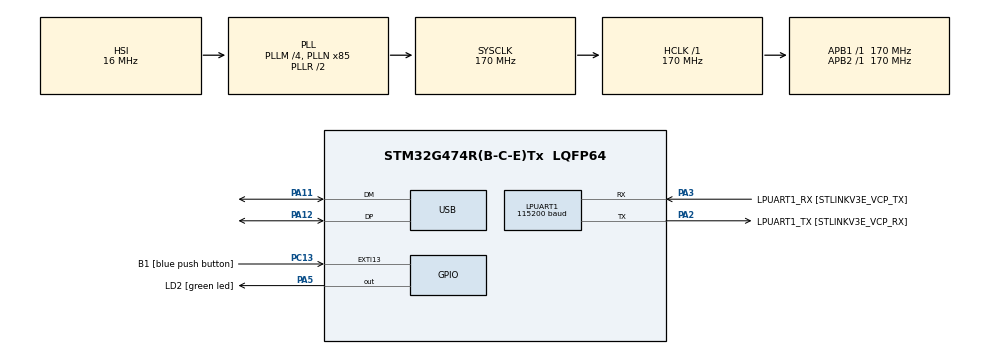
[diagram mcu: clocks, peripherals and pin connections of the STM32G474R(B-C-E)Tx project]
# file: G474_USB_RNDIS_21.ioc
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ADC1.Channel-0\#ChannelRegularConversion=ADC_CHANNEL_TEMPSENSOR_ADC1
ADC1.NbrOfConversionFlag=1
ADC1.OffsetNumber-0\#ChannelRegularConversion=ADC_OFFSET_NONE
ADC1.Rank-0\#ChannelRegularConversion=1
ADC1.SamplingTime-0\#ChannelRegularConversion=ADC_SAMPLETIME_2CYCLES_5
ADC1.master=1
Dma.LPUART1_RX.0.Direction=DMA_PERIPH_TO_MEMORY
Dma.LPUART1_RX.0.EventEnable=DISABLE
Dma.LPUART1_RX.0.Instance=DMA1_Channel1
Dma.LPUART1_RX.0.MemDataAlignment=DMA_MDATAALIGN_BYTE
Dma.LPUART1_RX.0.MemInc=DMA_MINC_ENABLE
Dma.LPUART1_RX.0.Mode=DMA_CIRCULAR
Dma.LPUART1_RX.0.PeriphDataAlignment=DMA_PDATAALIGN_BYTE
Dma.LPUART1_RX.0.PeriphInc=DMA_PINC_DISABLE
Dma.LPUART1_RX.0.Polarity=HAL_DMAMUX_REQ_GEN_RISING
Dma.LPUART1_RX.0.Priority=DMA_PRIORITY_LOW
Dma.LPUART1_RX.0.RequestNumber=1
Dma.LPUART1_RX.0.SignalID=NONE
Dma.LPUART1_RX.0.SyncEnable=DISABLE
Dma.LPUART1_RX.0.SyncPolarity=HAL_DMAMUX_SYNC_NO_EVENT
Dma.LPUART1_RX.0.SyncRequestNumber=1
Dma.LPUART1_RX.0.SyncSignalID=NONE
Dma.LPUART1_TX.1.Direction=DMA_MEMORY_TO_PERIPH
Dma.LPUART1_TX.1.EventEnable=DISABLE
Dma.LPUART1_TX.1.Instance=DMA1_Channel2
Dma.LPUART1_TX.1.MemDataAlignment=DMA_MDATAALIGN_BYTE
Dma.LPUART1_TX.1.MemInc=DMA_MINC_ENABLE
Dma.LPUART1_TX.1.Mode=DMA_NORMAL
Dma.LPUART1_TX.1.PeriphDataAlignment=DMA_PDATAALIGN_BYTE
Dma.LPUART1_TX.1.PeriphInc=DMA_PINC_DISABLE
Dma.LPUART1_TX.1.Polarity=HAL_DMAMUX_REQ_GEN_RISING
Dma.LPUART1_TX.1.Priority=DMA_PRIORITY_LOW
Dma.LPUART1_TX.1.RequestNumber=1
Dma.LPUART1_TX.1.SignalID=NONE
Dma.LPUART1_TX.1.SyncEnable=DISABLE
Dma.LPUART1_TX.1.SyncPolarity=HAL_DMAMUX_SYNC_NO_EVENT
Dma.LPUART1_TX.1.SyncRequestNumber=1
Dma.LPUART1_TX.1.SyncSignalID=NONE
Dma.Request0=LPUART1_RX
Dma.Request1=LPUART1_TX
FREERTOS.Tasks01=defaultTask,24,128,StartDefaultTask,Default,NULL,Dynamic,NULL,NULL
FREERTOS.configMINIMAL_STACK_SIZE=128
FREERTOS.configTOTAL_HEAP_SIZE=80000
FREERTOS.configUSE_IDLE_HOOK=1
FREERTOS.configUSE_NEWLIB_REENTRANT=1
LPUART1.BaudRate=115200
LPUART1.WordLength=UART_WORDLENGTH_8B
Mcu.Family=STM32G4
Mcu.Name=STM32G474R(B-C-E)Tx
Mcu.Package=LQFP64
NVIC.DMA1_Channel1_IRQn=true\:5\:0\:false\:false\:true\:true\:false\:true\:true
NVIC.DMA1_Channel2_IRQn=true\:5\:0\:false\:false\:true\:true\:false\:true\:true
NVIC.EXTI15_10_IRQn=true\:5\:0\:false\:false\:true\:true\:true\:true\:true
NVIC.LPUART1_IRQn=true\:5\:0\:false\:false\:true\:true\:true\:true\:true
NVIC.PriorityGroup=NVIC_PRIORITYGROUP_4
NVIC.TIM7_DAC_IRQn=true\:15\:0\:false\:false\:true\:false\:true\:true\:true
NVIC.TimeBase=TIM7_DAC_IRQn
NVIC.TimeBaseIP=TIM7
NVIC.USB_LP_IRQn=true\:5\:0\:false\:false\:true\:true\:true\:true\:true
PA11.Mode=Device
PA11.Signal=USB_DM
PA12.Mode=Device
PA12.Signal=USB_DP
PA13.GPIO_Label=T_SWDIO
PA13.Mode=Serial_Wire
PA13.Signal=SYS_JTMS-SWDIO
PA14.GPIO_Label=T_SWCLK
PA14.Mode=Serial_Wire
PA14.Signal=SYS_JTCK-SWCLK
PA2.GPIO_Label=LPUART1_TX [STLINKV3E_VCP_RX]
PA2.Mode=Asynchronous
PA2.Signal=LPUART1_TX
PA3.GPIO_Label=LPUART1_RX [STLINKV3E_VCP_TX]
PA3.Mode=Asynchronous
PA3.Signal=LPUART1_RX
PA5.GPIO_Label=LD2 [green led]
PA5.Signal=GPIO_Output
PB3.GPIO_Label=T_SWO
PB3.Signal=SYS_JTDO-SWO
PC13.GPIO_Label=B1 [blue push button]
PC13.Signal=GPXTI13
PC14-OSC32_IN.Mode=LSE-External-Oscillator
PC14-OSC32_IN.Signal=RCC_OSC32_IN
PC15-OSC32_OUT.Mode=LSE-External-Oscillator
PC15-OSC32_OUT.Signal=RCC_OSC32_OUT
PF0-OSC_IN.Mode=HSE-External-Oscillator
PF0-OSC_IN.Signal=RCC_OSC_IN
PF1-OSC_OUT.Mode=HSE-External-Oscillator
PF1-OSC_OUT.Signal=RCC_OSC_OUT
ProjectManager.HeapSize=0x200
ProjectManager.StackSize=0x400
ProjectManager.TargetToolchain=STM32CubeIDE
RCC.ADC12Freq_Value=170000000
RCC.ADC345Freq_Value=170000000
RCC.AHBFreq_Value=170000000
RCC.APB1Freq_Value=170000000
RCC.APB1TimFreq_Value=170000000
RCC.APB2Freq_Value=170000000
RCC.APB2TimFreq_Value=170000000
RCC.CK48CLockSelection=RCC_USBCLKSOURCE_HSI48
RCC.CortexFreq_Value=170000000
RCC.EXTERNAL_CLOCK_VALUE=12288000
RCC.HCLKFreq_Value=170000000
RCC.HSE_VALUE=24000000
RCC.HSI48_VALUE=48000000
RCC.HSI_VALUE=16000000
RCC.PLLM=RCC_PLLM_DIV4
RCC.PLLN=85
RCC.RTCClockSelection=RCC_RTCCLKSOURCE_LSE
RCC.SYSCLKFreq_VALUE=170000000
RCC.SYSCLKSource=RCC_SYSCLKSOURCE_PLLCLK
RCC.USBFreq_Value=48000000
RCC.VCOOutputFreq_Value=340000000
VP_ADC1_TempSens_Input.Mode=IN-TempSens
VP_FREERTOS_VS_CMSIS_V2.Mode=CMSIS_V2
VP_SYS_VS_DBSignals.Mode=DisableDeadBatterySignals
VP_SYS_VS_tim7.Mode=TIM7
board=NUCLEO-G474RE

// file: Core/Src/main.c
/* USER CODE BEGIN Header */
/**
  ******************************************************************************
  * @file           : main.c
  * @brief          : Main program body
  ******************************************************************************
  * @attention
  *
  * Copyright (c) 2024 STMicroelectronics.
  * All rights reserved.
  *
  * This software is licensed under terms that can be found in the LICENSE file
  * in the root directory of this software component.
  * If no LICENSE file comes with this software, it is provided AS-IS.
  *
  ******************************************************************************
  */
/* USER CODE END Header */
#include "main.h"
#include "cmsis_os.h"

/* USER CODE BEGIN Includes */
//#include "usb_device.h"
#include "queuex.h"
#include "tcpip.h"
#include "led.h"
#include "monitor.h"
#include "dhcpserver.h"
#include "usb_device.h"
#include "serial.h"
/* USER CODE END Includes */

/* USER CODE BEGIN PD */
extern queue_handle_t tcpQueue;
extern queue_handle_t usbQueue;
/* USER CODE END PD */

ADC_HandleTypeDef hadc1;

UART_HandleTypeDef hlpuart1;
DMA_HandleTypeDef hdma_lpuart1_rx;
DMA_HandleTypeDef hdma_lpuart1_tx;

PCD_HandleTypeDef hpcd_USB_FS;

/* Definitions for defaultTask */
osThreadId_t defaultTaskHandle;
const osThreadAttr_t defaultTask_attributes = {
  .name = "defaultTask",
  .priority = (osPriority_t) osPriorityNormal,
  .stack_size = 128 * 4
};

void SystemClock_Config(void);
static void MX_GPIO_Init(void);
static void MX_DMA_Init(void);
static void MX_LPUART1_UART_Init(void);
static void MX_ADC1_Init(void);
static void MX_USB_PCD_Init(void);
void StartDefaultTask(void *argument);

/* USER CODE BEGIN 0 */
/* Definitions for myEvent01 */
void User_vApplicationIdleHook( void )		//uer it is running now
{
   queue_manager( &tcpQueue );		//send to TCP task
   queue_manager( &usbQueue );		//send data to USB
}
/* USER CODE END 0 */

int main(void)
{

  /* MCU Configuration--------------------------------------------------------*/

  /* Reset of all peripherals, Initializes the Flash interface and the Systick. */
  HAL_Init();

  /* Configure the system clock */
  SystemClock_Config();

  /* Initialize all configured peripherals */
  MX_GPIO_Init();
  MX_DMA_Init();
  MX_LPUART1_UART_Init();
  MX_ADC1_Init();
  MX_USB_PCD_Init();
  /* USER CODE BEGIN 2 */
  //MX_USB_DEVICE_Init();
  //
  //issue the dns http all did not init from tcp freertos
  monitor_init();			//ADC monitor		..adc reading data only.. it got one theard runing for ADC keep reading adc
  //led_init();				//LED thread task running only
  tcpip_init();				//TCPIP init ... init TCP and others	... got one thead that run mactask
  usb_init();				//USB init ... it is MX_USB_Device_Init... it worked but got bug
  //init_btn();
  uart_init_1();

 // while(1){
//	  HAL_Delay(10);
//	  usart_send_string_1("AAAA");

//	  HAL_UART_Transmit(&hlpuart1, "AAAA", 4, 0xFFFF);
  //}

  // Set the queue on the tcpip stack io
  tcpQueue.messageDirection  = TCP_TO_USB;			//queuex.h msg from MCU to PCB USB
  tcpQueue.output            = usb_output;			//function call from usb_device.c to send out data to USB
  queue_init(&tcpQueue);			//exchange with tcpip.c usb_device.c usb_rndis.c

  // Set the queue on the usb io
  usbQueue.messageDirection   = USB_TO_TCP;			//queuex.h from PC USB to MCU
  usbQueue.output             = tcpip_output;		//function call from tcpip.c to
  queue_init(&usbQueue);			//exchange tcpip.c usb_device.c usb_rndis.c
  /* USER CODE END 2 */

  /* Init scheduler */
  osKernelInitialize();

  /* Create the thread(s) */
  /* creation of defaultTask */
  defaultTaskHandle = osThreadNew(StartDefaultTask, NULL, &defaultTask_attributes);

  /* Start scheduler */
  osKernelStart();

  /* We should never get here as control is now taken by the scheduler */
  /* Infinite loop */
  while (1)
  {

  }
}

void SystemClock_Config(void)
{
  RCC_OscInitTypeDef RCC_OscInitStruct = {0};
  RCC_ClkInitTypeDef RCC_ClkInitStruct = {0};

  /** Configure the main internal regulator output voltage
  */
  HAL_PWREx_ControlVoltageScaling(PWR_REGULATOR_VOLTAGE_SCALE1_BOOST);

  /** Initializes the RCC Oscillators according to the specified parameters
  * in the RCC_OscInitTypeDef structure.
  */
  RCC_OscInitStruct.OscillatorType = RCC_OSCILLATORTYPE_HSI|RCC_OSCILLATORTYPE_HSI48;
  RCC_OscInitStruct.HSIState = RCC_HSI_ON;
  RCC_OscInitStruct.HSICalibrationValue = RCC_HSICALIBRATION_DEFAULT;
  RCC_OscInitStruct.HSI48State = RCC_HSI48_ON;
  RCC_OscInitStruct.PLL.PLLState = RCC_PLL_ON;
  RCC_OscInitStruct.PLL.PLLSource = RCC_PLLSOURCE_HSI;
  RCC_OscInitStruct.PLL.PLLM = RCC_PLLM_DIV4;
  RCC_OscInitStruct.PLL.PLLN = 85;
  RCC_OscInitStruct.PLL.PLLP = RCC_PLLP_DIV2;
  RCC_OscInitStruct.PLL.PLLQ = RCC_PLLQ_DIV2;
  RCC_OscInitStruct.PLL.PLLR = RCC_PLLR_DIV2;
  if (HAL_RCC_OscConfig(&RCC_OscInitStruct) != HAL_OK)
  {
    Error_Handler();
  }

  /** Initializes the CPU, AHB and APB buses clocks
  */
  RCC_ClkInitStruct.ClockType = RCC_CLOCKTYPE_HCLK|RCC_CLOCKTYPE_SYSCLK
                              |RCC_CLOCKTYPE_PCLK1|RCC_CLOCKTYPE_PCLK2;
  RCC_ClkInitStruct.SYSCLKSource = RCC_SYSCLKSOURCE_PLLCLK;
  RCC_ClkInitStruct.AHBCLKDivider = RCC_SYSCLK_DIV1;
  RCC_ClkInitStruct.APB1CLKDivider = RCC_HCLK_DIV1;
  RCC_ClkInitStruct.APB2CLKDivider = RCC_HCLK_DIV1;

  if (HAL_RCC_ClockConfig(&RCC_ClkInitStruct, FLASH_LATENCY_4) != HAL_OK)
  {
    Error_Handler();
  }
}

static void MX_ADC1_Init(void)
{

  ADC_MultiModeTypeDef multimode = {0};
  ADC_ChannelConfTypeDef sConfig = {0};

  /** Common config
  */
  hadc1.Instance = ADC1;
  hadc1.Init.ClockPrescaler = ADC_CLOCK_SYNC_PCLK_DIV4;
  hadc1.Init.Resolution = ADC_RESOLUTION_12B;
  hadc1.Init.DataAlign = ADC_DATAALIGN_RIGHT;
  hadc1.Init.GainCompensation = 0;
  hadc1.Init.ScanConvMode = ADC_SCAN_DISABLE;
  hadc1.Init.EOCSelection = ADC_EOC_SINGLE_CONV;
  hadc1.Init.LowPowerAutoWait = DISABLE;
  hadc1.Init.ContinuousConvMode = DISABLE;
  hadc1.Init.NbrOfConversion = 1;
  hadc1.Init.DiscontinuousConvMode = DISABLE;
  hadc1.Init.ExternalTrigConv = ADC_SOFTWARE_START;
  hadc1.Init.ExternalTrigConvEdge = ADC_EXTERNALTRIGCONVEDGE_NONE;
  hadc1.Init.DMAContinuousRequests = DISABLE;
  hadc1.Init.Overrun = ADC_OVR_DATA_PRESERVED;
  hadc1.Init.OversamplingMode = DISABLE;
  if (HAL_ADC_Init(&hadc1) != HAL_OK)
  {
    Error_Handler();
  }

  /** Configure the ADC multi-mode
  */
  multimode.Mode = ADC_MODE_INDEPENDENT;
  if (HAL_ADCEx_MultiModeConfigChannel(&hadc1, &multimode) != HAL_OK)
  {
    Error_Handler();
  }

  /** Configure Regular Channel
  */
  sConfig.Channel = ADC_CHANNEL_TEMPSENSOR_ADC1;
  sConfig.Rank = ADC_REGULAR_RANK_1;
  sConfig.SamplingTime = ADC_SAMPLETIME_2CYCLES_5;
  sConfig.SingleDiff = ADC_SINGLE_ENDED;
  sConfig.OffsetNumber = ADC_OFFSET_NONE;
  sConfig.Offset = 0;
  if (HAL_ADC_ConfigChannel(&hadc1, &sConfig) != HAL_OK)
  {
    Error_Handler();
  }

}

static void MX_LPUART1_UART_Init(void)
{

  hlpuart1.Instance = LPUART1;
  hlpuart1.Init.BaudRate = 115200;
  hlpuart1.Init.WordLength = UART_WORDLENGTH_8B;
  hlpuart1.Init.StopBits = UART_STOPBITS_1;
  hlpuart1.Init.Parity = UART_PARITY_NONE;
  hlpuart1.Init.Mode = UART_MODE_TX_RX;
  hlpuart1.Init.HwFlowCtl = UART_HWCONTROL_NONE;
  hlpuart1.Init.OneBitSampling = UART_ONE_BIT_SAMPLE_DISABLE;
  hlpuart1.Init.ClockPrescaler = UART_PRESCALER_DIV1;
  hlpuart1.AdvancedInit.AdvFeatureInit = UART_ADVFEATURE_NO_INIT;
  if (HAL_UART_Init(&hlpuart1) != HAL_OK)
  {
    Error_Handler();
  }
  if (HAL_UARTEx_SetTxFifoThreshold(&hlpuart1, UART_TXFIFO_THRESHOLD_1_8) != HAL_OK)
  {
    Error_Handler();
  }
  if (HAL_UARTEx_SetRxFifoThreshold(&hlpuart1, UART_RXFIFO_THRESHOLD_1_8) != HAL_OK)
  {
    Error_Handler();
  }
  if (HAL_UARTEx_DisableFifoMode(&hlpuart1) != HAL_OK)
  {
    Error_Handler();
  }

}

static void MX_USB_PCD_Init(void)
{

  hpcd_USB_FS.Instance = USB;
  hpcd_USB_FS.Init.dev_endpoints = 8;
  hpcd_USB_FS.Init.speed = PCD_SPEED_FULL;
  hpcd_USB_FS.Init.phy_itface = PCD_PHY_EMBEDDED;
  hpcd_USB_FS.Init.Sof_enable = DISABLE;
  hpcd_USB_FS.Init.low_power_enable = DISABLE;
  hpcd_USB_FS.Init.lpm_enable = DISABLE;
  hpcd_USB_FS.Init.battery_charging_enable = DISABLE;
  if (HAL_PCD_Init(&hpcd_USB_FS) != HAL_OK)
  {
    Error_Handler();
  }

}

static void MX_DMA_Init(void)
{

  /* DMA controller clock enable */
  __HAL_RCC_DMAMUX1_CLK_ENABLE();
  __HAL_RCC_DMA1_CLK_ENABLE();

  /* DMA interrupt init */
  /* DMA1_Channel1_IRQn interrupt configuration */
  HAL_NVIC_SetPriority(DMA1_Channel1_IRQn, 5, 0);
  HAL_NVIC_EnableIRQ(DMA1_Channel1_IRQn);
  /* DMA1_Channel2_IRQn interrupt configuration */
  HAL_NVIC_SetPriority(DMA1_Channel2_IRQn, 5, 0);
  HAL_NVIC_EnableIRQ(DMA1_Channel2_IRQn);

}

static void MX_GPIO_Init(void)
{
  GPIO_InitTypeDef GPIO_InitStruct = {0};

  /* GPIO Ports Clock Enable */
  __HAL_RCC_GPIOC_CLK_ENABLE();
  __HAL_RCC_GPIOF_CLK_ENABLE();
  __HAL_RCC_GPIOA_CLK_ENABLE();
  __HAL_RCC_GPIOB_CLK_ENABLE();

  /*Configure GPIO pin Output Level */
  HAL_GPIO_WritePin(LD2_GPIO_Port, LD2_Pin, GPIO_PIN_RESET);

  /*Configure GPIO pin : B1_Pin */
  GPIO_InitStruct.Pin = B1_Pin;
  GPIO_InitStruct.Mode = GPIO_MODE_IT_RISING;
  GPIO_InitStruct.Pull = GPIO_NOPULL;
  HAL_GPIO_Init(B1_GPIO_Port, &GPIO_InitStruct);

  /*Configure GPIO pin : LD2_Pin */
  GPIO_InitStruct.Pin = LD2_Pin;
  GPIO_InitStruct.Mode = GPIO_MODE_OUTPUT_PP;
  GPIO_InitStruct.Pull = GPIO_NOPULL;
  GPIO_InitStruct.Speed = GPIO_SPEED_FREQ_LOW;
  HAL_GPIO_Init(LD2_GPIO_Port, &GPIO_InitStruct);

  /* EXTI interrupt init*/
  HAL_NVIC_SetPriority(EXTI15_10_IRQn, 5, 0);
  HAL_NVIC_EnableIRQ(EXTI15_10_IRQn);

}

void StartDefaultTask(void *argument)
{
  /* USER CODE BEGIN 5 */

  /* Infinite loop */
  for(;;)
  {
	//usart_send_string_1("AAAA");
    osDelay(10000);
  }
  /* USER CODE END 5 */
}

void HAL_TIM_PeriodElapsedCallback(TIM_HandleTypeDef *htim)
{
  if (htim->Instance == TIM7) {
    HAL_IncTick();
  }
}

void Error_Handler(void)
{
  __disable_irq();
  while (1)
  {
  }
}

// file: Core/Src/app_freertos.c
/* USER CODE BEGIN Header */
/**
  ******************************************************************************
  * File Name          : app_freertos.c
  * Description        : Code for freertos applications
  ******************************************************************************
  * @attention
  *
  * Copyright (c) 2024 STMicroelectronics.
  * All rights reserved.
  *
  * This software is licensed under terms that can be found in the LICENSE file
  * in the root directory of this software component.
  * If no LICENSE file comes with this software, it is provided AS-IS.
  *
  ******************************************************************************
  */
/* USER CODE END Header */

#include "FreeRTOS.h"
#include "task.h"
#include "main.h"

/* Hook prototypes */
void vApplicationIdleHook(void);

/* USER CODE BEGIN 2 */
void vApplicationIdleHook( void )
{
   /* vApplicationIdleHook() will only be called if configUSE_IDLE_HOOK is set
   to 1 in FreeRTOSConfig.h. It will be called on each iteration of the idle
   task. It is essential that code added to this hook function never attempts
   to block in any way (for example, call xQueueReceive() with a block time
   specified, or call vTaskDelay()). If the application makes use of the
   vTaskDelete() API function (as this demo application does) then it is also
   important that vApplicationIdleHook() is permitted to return to its calling
   function, because it is the responsibility of the idle task to clean up
   memory allocated by the kernel to any task that has since been deleted. */
	User_vApplicationIdleHook();
}
/* USER CODE END 2 */
